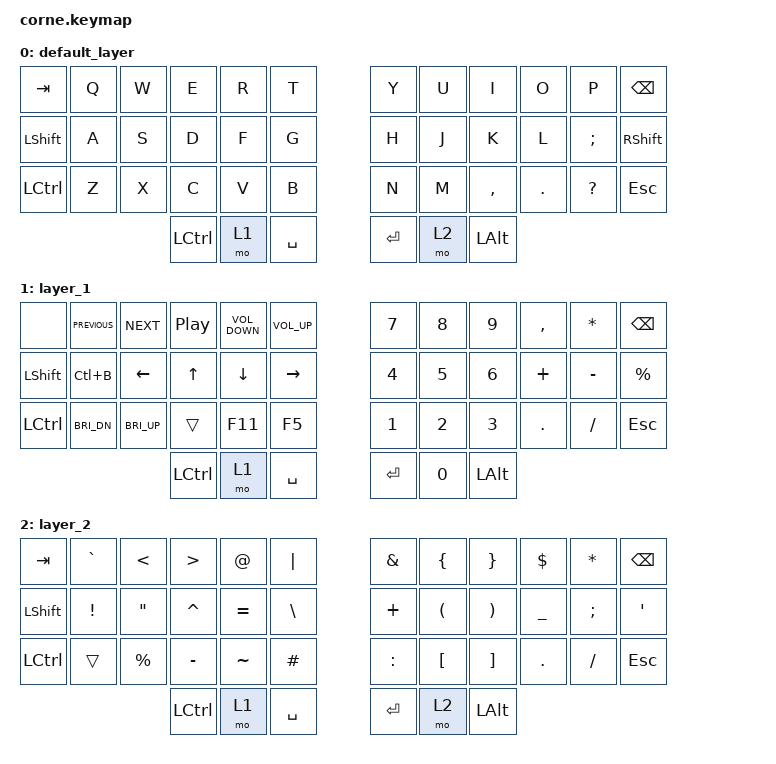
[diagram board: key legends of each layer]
/*
 * Copyright (c) 2020 The ZMK Contributors
 *
 * SPDX-License-Identifier: MIT
 */

#include <behaviors.dtsi>
#include <dt-bindings/zmk/bt.h>
#include <dt-bindings/zmk/outputs.h>
#include <dt-bindings/zmk/keys.h>

/ {
    macros {
        // Switching profile alone does not move output off USB, so each of
        // these sets the endpoint to BLE first, then selects the profile.
        ble_mac: ble_mac {
            compatible = "zmk,behavior-macro";
            #binding-cells = <0>;
            bindings = <&out OUT_BLE>, <&bt BT_SEL 0>;
        };

        ble_alt: ble_alt {
            compatible = "zmk,behavior-macro";
            #binding-cells = <0>;
            bindings = <&out OUT_BLE>, <&bt BT_SEL 1>;
        };
    };

    combos {
        compatible = "zmk,combos";

        capslock {
            bindings = <&kp CAPSLOCK>;
            key-positions = <12 23>;
            timeout-ms = <150>;
            require-prior-idle-ms = <100>;
        };

        // Output/profile switching, only while holding Lower (layer 1).
        // Q/W/E/R alone stay media keys.
        out_usb {
            bindings = <&out OUT_USB>;
            key-positions = <1 2>;      // Q + W  -> wire
            layers = <1>;
        };

        out_ble_mac {
            bindings = <&ble_mac>;
            key-positions = <2 3>;      // W + E  -> BLE, profile 0 (mac)
            layers = <1>;
        };

        out_ble_alt {
            bindings = <&ble_alt>;
            key-positions = <3 4>;      // E + R  -> BLE, profile 1
            layers = <1>;
        };

        bt_clear {
            bindings = <&bt BT_CLR>;
            key-positions = <1 2 3>;    // Q + W + E
            timeout-ms = <100>;         // three keys need a wider window than the 50ms default
            layers = <1>;
        };
    };

    keymap {
        compatible = "zmk,keymap";

        default_layer {
            // -----------------------------------------------------------------------------------------
            // |  TAB |  Q  |  W  |  E  |  R  |  T  |   |  Y  |  U   |  I  |  O  |  P  | BSPC |
            // | CTRL |  A  |  S  |  D  |  F  |  G  |   |  H  |  J   |  K  |  L  |  ;  |  '   |
            // | SHFT |  Z  |  X  |  C  |  V  |  B  |   |  N  |  M   |  ,  |  .  |  /  | ESC  |
            //                    | GUI | LWR | SPC |   | ENT | RSE  | ALT |

            bindings = <
&kp TAB           &kp Q  &kp W  &kp E             &kp R  &kp T        &kp Y    &kp U  &kp I         &kp O    &kp P         &kp BSPC
&kp LEFT_SHIFT    &kp A  &kp S  &kp D             &kp F  &kp G        &kp H    &kp J  &kp K         &kp L    &kp SEMI      &kp RIGHT_SHIFT
&kp LEFT_CONTROL  &kp Z  &kp X  &kp C             &kp V  &kp B        &kp N    &kp M  &kp COMMA     &kp DOT  &kp QUESTION  &kp ESC
                                &kp LEFT_CONTROL  &mo 1  &kp SPACE    &kp RET  &mo 2  &kp LEFT_ALT
            >;
        };

        layer_1 {
            bindings = <
&none           &kp C_PREVIOUS  &kp C_NEXT      &kp C_PLAY_PAUSE  &kp C_VOLUME_DOWN  &kp C_VOLUME_UP    &kp NUMBER_7  &kp NUMBER_8  &kp NUMBER_9  &kp COMMA   &kp ASTERISK  &kp BACKSPACE
&kp LEFT_SHIFT  &kp LC(B)       &kp LEFT_ARROW  &kp UP_ARROW      &kp DOWN_ARROW     &kp RIGHT_ARROW    &kp NUMBER_4  &kp N5        &kp NUMBER_6  &kp PLUS    &kp MINUS     &kp PERCENT
&kp LEFT_CONTROL &kp C_BRI_DN    &kp C_BRI_UP    &trans            &kp F11            &kp F5             &kp NUMBER_1  &kp NUMBER_2  &kp NUMBER_3  &kp PERIOD  &kp SLASH     &kp ESC
                                                &kp LEFT_CONTROL  &mo 1              &kp SPACE          &kp ENTER     &kp N0        &kp LEFT_ALT
            >;
        };

        layer_2 {
            bindings = <
&kp TAB           &kp GRAVE        &kp LESS_THAN      &kp GREATER_THAN  &kp AT_SIGN  &kp PIPE     &kp AMPERSAND  &kp LEFT_BRACE        &kp RIGHT_BRACE        &kp DOLLAR      &kp ASTERISK   &kp BACKSPACE
&kp LEFT_SHIFT    &kp EXCLAMATION  &kp DOUBLE_QUOTES  &kp CARET         &kp EQUAL    &kp BSLH     &kp PLUS       &kp LEFT_PARENTHESIS  &kp RIGHT_PARENTHESIS  &kp UNDERSCORE  &kp SEMICOLON  &kp SQT
&kp LEFT_CONTROL  &trans           &kp PERCENT        &kp MINUS         &kp TILDE    &kp HASH     &kp COLON      &kp LEFT_BRACKET      &kp RIGHT_BRACKET      &kp PERIOD      &kp SLASH      &kp ESCAPE
                                                      &kp LEFT_CONTROL  &mo 1        &kp SPACE    &kp RETURN     &mo 2                 &kp LEFT_ALT
            >;
        };
    };
};
